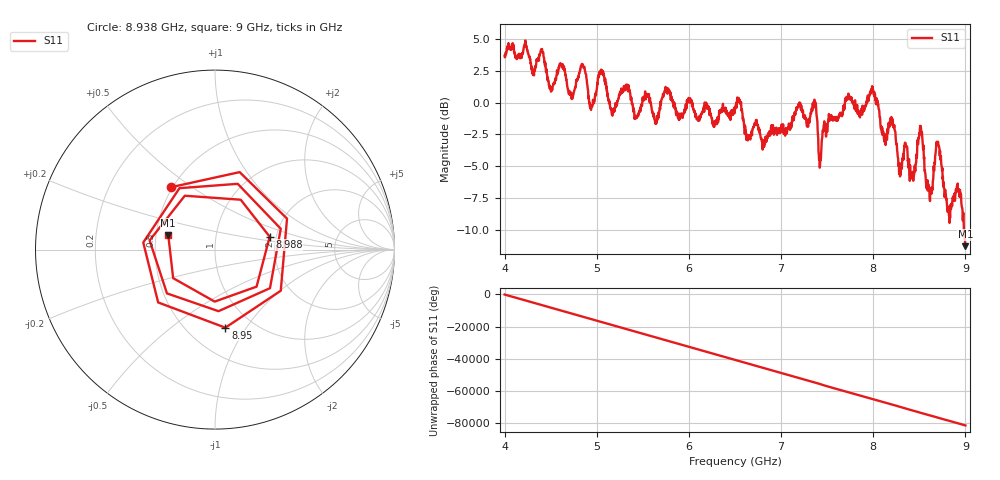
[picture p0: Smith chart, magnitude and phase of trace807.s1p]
! Created with skrf 1.8.0 (http://scikit-rf.org).
# Hz S RI R 50.0
!freq ReS11 ImS11
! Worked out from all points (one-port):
!   1601 points, 4 GHz to 9 GHz, reference 50 ohm
!   lowest |S11| = -11.3 dB at 9 GHz (marker M1), VSWR 1.75, Z = 29 + j4.97 ohm
!   |S11| at or under -10 dB: 8.983646 GHz to end of sweep
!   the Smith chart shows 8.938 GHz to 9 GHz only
!   S11 on the Smith chart (normalised r, x): 8.938 GHz: 0.49, +0.42; 8.95 GHz: 0.75, -0.81; 8.988 GHz: 1.85, +0.29; 9 GHz: 0.58, +0.10
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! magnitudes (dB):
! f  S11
! 4 GHz  3.7
! 4.506 GHz  0.9
! 4.625 GHz  2.9
! 4.722 GHz  0.8
! 4.85 GHz  2.9
! 4.941 GHz  -0.2
! 5.044 GHz  2.3
! 5.169 GHz  -1.0
! 5.25 GHz  0.7
! 5.875 GHz  -0.8
! 6.5 GHz  -0.5
! 6.806 GHz  -3.5
! 7.125 GHz  -1.1
! 7.356 GHz  0.0
! 7.425 GHz  -4.5
! 7.75 GHz  0.3
! 7.994 GHz  1.2
! 8.288 GHz  -5.3
! 8.375 GHz  -4.6
! 8.438 GHz  -5.6
! 8.512 GHz  -2.1
! 8.603 GHz  -6.6
! 8.7 GHz  -3.2
! 8.809 GHz  -8.6
! 8.938 GHz  -7.4
! 8.95 GHz  -7.2
! 8.988 GHz  -10.1
! 9 GHz  -11.3
